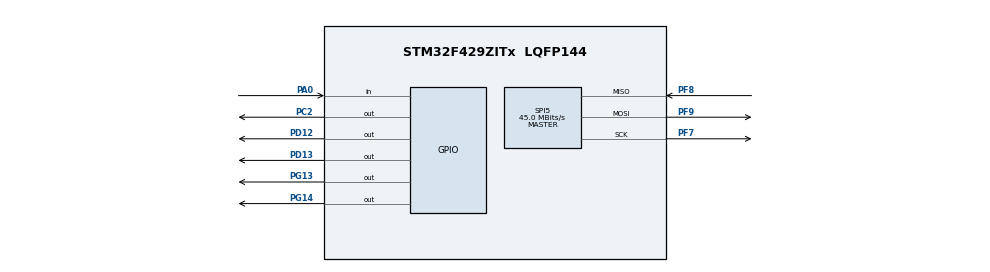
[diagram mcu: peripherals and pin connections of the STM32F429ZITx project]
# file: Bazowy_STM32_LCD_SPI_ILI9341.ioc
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Dma.Request0=SPI5_TX
Dma.SPI5_TX.0.Direction=DMA_MEMORY_TO_PERIPH
Dma.SPI5_TX.0.FIFOMode=DMA_FIFOMODE_DISABLE
Dma.SPI5_TX.0.Instance=DMA2_Stream4
Dma.SPI5_TX.0.MemDataAlignment=DMA_MDATAALIGN_BYTE
Dma.SPI5_TX.0.MemInc=DMA_MINC_ENABLE
Dma.SPI5_TX.0.Mode=DMA_CIRCULAR
Dma.SPI5_TX.0.PeriphDataAlignment=DMA_PDATAALIGN_BYTE
Dma.SPI5_TX.0.PeriphInc=DMA_PINC_DISABLE
Dma.SPI5_TX.0.Priority=DMA_PRIORITY_LOW
FREERTOS.BinarySemaphores01=BinarySem01,Dynamic,NULL
FREERTOS.Tasks01=LCD_Task,8,128,StartLCDTask,Default,NULL,Dynamic,NULL,NULL;LED1_task,24,128,StartTaskLED1,Default,NULL,Dynamic,NULL,NULL;LED2_tack,24,128,StartTaskLED2,Default,NULL,Dynamic,NULL,NULL
FREERTOS.configUSE_NEWLIB_REENTRANT=1
Mcu.Family=STM32F4
Mcu.Name=STM32F429ZITx
Mcu.Package=LQFP144
NVIC.DMA2_Stream4_IRQn=true\:5\:0\:false\:false\:true\:true\:false\:true
NVIC.PriorityGroup=NVIC_PRIORITYGROUP_4
PA0/WKUP.Signal=GPIO_Input
PA13.Mode=Serial_Wire
PA13.Signal=SYS_JTMS-SWDIO
PA14.Mode=Serial_Wire
PA14.Signal=SYS_JTCK-SWCLK
PC2.GPIO_Speed=GPIO_SPEED_FREQ_VERY_HIGH
PC2.Signal=GPIO_Output
PD12.GPIO_Speed=GPIO_SPEED_FREQ_VERY_HIGH
PD12.Signal=GPIO_Output
PD13.GPIO_Speed=GPIO_SPEED_FREQ_VERY_HIGH
PD13.Signal=GPIO_Output
PF7.Mode=Full_Duplex_Master
PF7.Signal=SPI5_SCK
PF8.Mode=Full_Duplex_Master
PF8.Signal=SPI5_MISO
PF9.Mode=Full_Duplex_Master
PF9.Signal=SPI5_MOSI
PG13.Signal=GPIO_Output
PG14.Signal=GPIO_Output
PH0/OSC_IN.Mode=HSE-External-Oscillator
PH0/OSC_IN.Signal=RCC_OSC_IN
PH1/OSC_OUT.Mode=HSE-External-Oscillator
PH1/OSC_OUT.Signal=RCC_OSC_OUT
ProjectManager.HeapSize=0x200
ProjectManager.StackSize=0x400
ProjectManager.TargetToolchain=STM32CubeIDE
RCC.48MHZClocksFreq_Value=45000000
RCC.AHBFreq_Value=180000000
RCC.APB1CLKDivider=RCC_HCLK_DIV4
RCC.APB1Freq_Value=45000000
RCC.APB1TimFreq_Value=90000000
RCC.APB2CLKDivider=RCC_HCLK_DIV2
RCC.APB2Freq_Value=90000000
RCC.APB2TimFreq_Value=180000000
RCC.CortexFreq_Value=180000000
RCC.HCLKFreq_Value=180000000
RCC.HSE_VALUE=8000000
RCC.HSI_VALUE=16000000
RCC.LSE_VALUE=32768
RCC.PLLM=4
RCC.PLLN=180
RCC.PLLQ=8
RCC.PLLSourceVirtual=RCC_PLLSOURCE_HSE
RCC.SYSCLKFreq_VALUE=180000000
RCC.SYSCLKSource=RCC_SYSCLKSOURCE_PLLCLK
RCC.VCOOutputFreq_Value=360000000
SPI5.BaudRatePrescaler=SPI_BAUDRATEPRESCALER_2
SPI5.CalculateBaudRate=45.0 MBits/s
SPI5.Direction=SPI_DIRECTION_2LINES
SPI5.Mode=SPI_MODE_MASTER
SPI5.VirtualType=VM_MASTER
VP_FREERTOS_VS_CMSIS_V2.Mode=CMSIS_V2
VP_RNG_VS_RNG.Mode=RNG_Activate
board=custom

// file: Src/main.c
/* USER CODE BEGIN Header */
/**
  ******************************************************************************
  * @file           : main.c
  * @brief          : Main program body
  ******************************************************************************
  * @attention
  *
  * <h2><center>&copy; Copyright (c) 2020 STMicroelectronics.
  * All rights reserved.</center></h2>
  *
  * This software component is licensed by ST under BSD 3-Clause license,
  * the "License"; You may not use this file except in compliance with the
  * License. You may obtain a copy of the License at:
  *                        opensource.org/licenses/BSD-3-Clause
  *
  ******************************************************************************
  */
/* USER CODE END Header */
#include "main.h"
#include "cmsis_os.h"
#include <stdbool.h>
#include <math.h>
#include <stdlib.h>

/* USER CODE BEGIN Includes */
#include "ll_spi_ili9341.h"
/* USER CODE END Includes */

/* Definitions for LCD_Task */
osThreadId_t LCD_TaskHandle;
const osThreadAttr_t LCD_Task_attributes = {
  .name = "LCD_Task",
  .stack_size = 128 * 4,
  .priority = (osPriority_t) osPriorityLow,
};
/* Definitions for LED1_task */
osThreadId_t LED1_taskHandle;
const osThreadAttr_t LED1_task_attributes = {
  .name = "LED1_task",
  .stack_size = 128 * 4,
  .priority = (osPriority_t) osPriorityNormal,
};
/* Definitions for LED2_tack */
osThreadId_t LED2_tackHandle;
const osThreadAttr_t LED2_tack_attributes = {
  .name = "LED2_tack",
  .stack_size = 128 * 4,
  .priority = (osPriority_t) osPriorityNormal,
};
/* Definitions for BinarySem01 */
osSemaphoreId_t BinarySem01Handle;
const osSemaphoreAttr_t BinarySem01_attributes = {
  .name = "BinarySem01"
};
/* USER CODE BEGIN PV */
uint8_t DmaSpiCnt=1;
/*
int x = 120, y = 160; // Skladowe x,y polozenia kwadratu
int x_old = 120, y_old = 160;
int dx = 1, dy = 1; // Skladowe wektora predkosci dx, dy
*/

unsigned char *ptr;
unsigned char napis[] = {"Press the blue button..."};
int dl_n = 24;
unsigned int nx = 0;
unsigned int ny = 280;
unsigned int  key;

//
unsigned int wysEkranu = 240;
unsigned int szeEkranu = 320;
unsigned int offsetPodloza = 24;
double mX = 240;
double mY = 0.002;

int miejsceLadowania = 0;

//unsigned int czestOdswAnimacji = 500;//czestotliwosc odswierzania animacji lotu
//unsigned int czasAnimacji = (int)(1000 / czestOdswAnimacji);//wyliczenie czasu animacji
unsigned int czasAnimacji = 2;
unsigned int preScaleZapisany = 10000;//moment preskalera licznika uzytkownika w ktorym zakonczyla sie analiza
bool koniecAnalizy = false; //ustawiana i restartowana w celu wyznaczenia momentu analizy
bool koniecRysowania = false; //ustawiana i restartowana w celu wyznaczenia momentu rysowania

unsigned int prepreScale = 0;
int Tim = 0;                // Licznik uzytkownika
unsigned int preScale = 0;  // Preskaler licznika uzytkownika

enum Tryb{
    RYSOWANIE,
    WYKRESY
};

enum Tryb trybPracy = RYSOWANIE;

int daneZadana[105];
int daneWynik[105];
int daneUchyb[105];
//

/* USER CODE END PV */

void SystemClock_Config(void);
static void MX_GPIO_Init(void);
static void MX_DMA_Init(void);
static void MX_RNG_Init(void);
static void MX_SPI5_Init(void);
void StartLCDTask(void *argument);
void StartTaskLED1(void *argument);
void StartTaskLED2(void *argument);

/* USER CODE BEGIN PFP */
//void move_square_C(void);

void setKat(double kat);
double getKat();
void setCelReg(double cel);
double getCelReg();
void setPredkosc(unsigned int predkosc);
unsigned int getPredkosc();

/* USER CODE END PFP */

/* USER CODE BEGIN 0 */
/*
void move_square_C(){
//Aktualizacja po│ozenia na podstawie wektora predkosci
		x+=dx;
		y+=dy;
//Ograniczenie obszaru poruszania kwadratem w obrebie LCD
		if (x <= 1 || x >= 240 - 34)
			dx = -dx;
		if (y <= 1 || y >= 320 - 34)
			dy = -dy;
}
*/

//obiekt regulacji
struct ObiektRegulacji {
    double katArmaty;
    double cel;
    unsigned int predkosc;
};

struct ObiektRegulacji objReg;

    void setKat(double kat) {
        if (kat < 0 || kat>90) {}
        else objReg.katArmaty = kat;
    }

    double getKat() {
        return objReg.katArmaty;
    }

    void setCelReg(double cel) {
        if (cel <= 0 || cel >= 240) {}
        else objReg.cel = cel;
    }

    double getCelReg() {
        return objReg.cel;
    }

    void setPredkosc(unsigned int predkosc) {
        if (predkosc <= 0) {}
        else objReg.predkosc = predkosc;
    }

    unsigned int getPredkosc() {
        return objReg.predkosc;
    }
//

//
    double stopnieNaRad(double stopnie)
    {
        return (stopnie * M_PI) / 180;
    }

    double radNaStopnie(double rad)
    {
        return (rad * 180) / M_PI;
    }

    double pozNaRad(double x, int offset, double v) //ta funkcja nie ma sensu
    {
        double stopnie = asin(((128 - 2 * offset) / mY + (9.8 * x * x) / 2) / (v * x * mX));
        return stopnie;
    }

    void AnalizaIRegulacja()
    {
        /*
        unsigned char Text[] = "AnalizaIRegulacja___";

            for (int j = 0; j < rozmiar; j++)
            {
                Komentarze[j] = Text[j];
            }

        PrintText(textEkran, Komentarze, 20, 0, 0);
*/

        double stopnie = getKat();
/*
        unsigned char Text1[] = "Stopnie_przedReg____";

            for (int j = 0; j < rozmiar; j++)
            {
                Komentarze[j] = Text1[j];
            }

            Komentarze[17] = ((int)stopnie / 100 - 10 * ((int)stopnie / 1000) + '0');
            Komentarze[18] = (int)stopnie / 10 - 10 * ((int)stopnie / 100) + '0';
            Komentarze[19] = (int)stopnie % 10 + '0';

        PrintText(textEkran, Komentarze, 20, 0, 1);
*/

        double uchyb = getCelReg() - miejsceLadowania;

        //DodajDaneUchyb(uchyb);
/*
        unsigned char Text3[] = "Uchyb_______________";

            for (int j = 0; j < rozmiar; j++)
            {
                Komentarze[j] = Text3[j];
            }

            if(uchyb<0) Komentarze[16] = '-';
            Komentarze[17] = (abs(uchyb) / 100 - 10 * (abs(uchyb) / 1000) + '0');
            Komentarze[18] = abs(uchyb) / 10 - 10 * (abs(uchyb) / 100) + '0';
            Komentarze[19] = abs(uchyb) % 10 + '0';

        PrintText(textEkran, Komentarze, 20, 20, 5);
*/
    /*
        regPID.setInput(uchyb);

        regPID.Calculate();

        double zadana = regPID.getOutput();
    */
        //cout<<"\nZadane miejsce ladowania: "<<zadana;

    //    stopnie = (int)radNaStopnie(pozNaRad(zadana, offsetPodloza, objReg.getPredkosc()));
    /*    if(uchyb<0) stopnie-=10; //proporcje 0-90 na 0-szerokosc ekranu
        else if(uchyb>0) stopnie+=10;
        else stopnie=stopnie;
    */

        //regulacja kata wystrzalu armaty
        stopnie+=uchyb/10;

        //cout<<" Stopnie; "<<stopnie;

        setKat(stopnie);

/*
        unsigned char Text2[] = "Stopnie_poReg_______";

            for (int j = 0; j < rozmiar; j++)
            {
                Komentarze[j] = Text2[j];
            }

            Komentarze[17] = ((int)stopnie / 100 - 10 * ((int)stopnie / 1000) + '0');
            Komentarze[18] = (int)stopnie / 10 - 10 * ((int)stopnie / 100) + '0';
            Komentarze[19] = (int)stopnie % 10 + '0';

        PrintText(textEkran, Komentarze, 20, 0, 2);
*/
        koniecAnalizy = true;
    }

    unsigned int t = 0;
    unsigned int x = 0;
    unsigned int y = 0;

        int ileRysowanie=0;

        void RysowanieTrajektorii()
        {
/*
            unsigned char Text[] = "RysowanieTrajektorii";

                for (int j = 0; j < rozmiar; j++)
                {
                    Komentarze[j] = Text[j];
                }

            PrintText(textEkran, Komentarze, 20, 0, 0);
*/

            //rysowanie tla

            int dlugoscA = 10;
            int szerokoscA = 10;

            //z kata obliczyc punkt (x,y) konca armaty

            int xA = dlugoscA * cos(stopnieNaRad(getKat()));
            //cout<<xA;
            int yA = dlugoscA * sin(stopnieNaRad(getKat()));
            //cout<<yA;
            //narysowac linie laczaca punkt poczatkowy z (x,y) i linie wyzej, nizej
            for (int dlugosc = 0; dlugosc < dlugoscA; dlugosc++)
            {
                for (int szerokosc = -szerokoscA / 2; szerokosc < szerokoscA / 2; szerokosc++)
                {
                    if(trybPracy == 0)
                        //SetPixel(ekran, (5 + (xA * dlugosc / dlugoscA) + szerokosc), (wysEkranu - (5 + offsetPodloza + (yA * dlugosc / dlugoscA) + szerokosc)));
                        TFTDisplay_ILI9341_DrawPixel((wysEkranu - (5 + offsetPodloza + (yA * dlugosc / dlugoscA) + szerokosc)), (5 + (xA * dlugosc / dlugoscA) + szerokosc), TFT_COLOR_ILI9341_BLACK);
                }
            }

            //wyliczanie pozycji kuli dla danej chwili
            t = (int)(preScale - preScaleZapisany)/5; // /25 = korekta zeby trajektoria rysowala sie wolniej

            x = (unsigned int)(0.38 * getPredkosc() * t * cos(stopnieNaRad(getKat())));

            y = (unsigned int)(mY * (getPredkosc() * t * mX * sin(stopnieNaRad(getKat())) - (9.8 * t * t / 2)) + offsetPodloza);

            if (abs((int)(offsetPodloza - y)) < 3)
            {
                miejsceLadowania = x;
/*
                unsigned char Text[] = "Nowe ladowanie = ___";

                    for (int j = 0; j < rozmiar; j++)
                    {
                        Komentarze[j] = Text[j];
                    }

                    Komentarze[17] = (miejsceLadowania / 100 - 10 * (miejsceLadowania / 1000) + '0');
                    Komentarze[18] = miejsceLadowania / 10 - 10 * (miejsceLadowania / 100) + '0';
                    Komentarze[19] = miejsceLadowania % 10 + '0';

                PrintText(textEkran, Komentarze, 20, 0, 4);
*/
            }

            if (y >= offsetPodloza && y < wysEkranu && x >= 0 && x < szeEkranu) //XD
            {
                if(trybPracy == 0)
                    //SetPixel(ekran, x, (wysEkranu - y));
                //    TFTDisplay_ILI9341_DrawPixel((wysEkranu - y), x, TFT_COLOR_ILI9341_RED);
                    TFTDisplay_ILI9341_DrawCircle((wysEkranu - y), x, 5, TFT_COLOR_ILI9341_RED);
            }
            else if (y >= wysEkranu || x >= szeEkranu)
            {
            }
            else
            {
                koniecRysowania = true;
                preScaleZapisany = preScale;
/*
                unsigned char Text[] = "Koniec rysowania____";

                    for (int j = 0; j < rozmiar; j++)
                    {
                        Komentarze[j] = Text[j];
                    }

                PrintText(textEkran, Komentarze, 20, 0, 0);
*/
                //DodajDaneWynik(miejsceLadowania);
            }
        }

        void Wykresy()
        {
            TFTDisplay_ILI9341_FillScreen(TFT_COLOR_ILI9341_WHITE);

            //240x128
            for(unsigned int x=1; x<szeEkranu; x++)
            {
                for(unsigned int y=1; y<wysEkranu; y++)
                {
                    //wykres lewo (wartosc zadana i uzyskana)
                    if(x==5 && y>=wysEkranu-75 && y<wysEkranu-5)
                        //SetPixel(ekran, x, y);
                        TFTDisplay_ILI9341_DrawPixel(y, x, TFT_COLOR_ILI9341_BLUE);
                    if(y==wysEkranu-5 && x>5 && x<110)
                        //SetPixel(ekran, x, y);
                        TFTDisplay_ILI9341_DrawPixel(y, x, TFT_COLOR_ILI9341_BLUE);

                    //wykres prawo (uchyb)
                    if(x==5+120 && y>=wysEkranu-75 && y<wysEkranu-5)
                        //SetPixel(ekran, x, y);
                        TFTDisplay_ILI9341_DrawPixel(y, x, TFT_COLOR_ILI9341_BLUE);
                    if(y==wysEkranu-40 && x>5+120 && x<110+120)
                        //SetPixel(ekran, x, y);
                        TFTDisplay_ILI9341_DrawPixel(y, x, TFT_COLOR_ILI9341_BLUE);
                }
            }
            for(int i=0; i<105; i++)
            {
                //wykresZadana
                //SetPixel(ekran, (i+5), (int)(wysEkranu-(daneZadana[i]/240.0*70+5)));
                TFTDisplay_ILI9341_DrawPixel((int)(wysEkranu-(daneZadana[i]/240.0*70+5)), (i+5), TFT_COLOR_ILI9341_BLUE);

                //wykresWynik
                //SetPixel(ekran, (i+5), (int)(wysEkranu-(daneWynik[i]/240.0*70+5)));
                TFTDisplay_ILI9341_DrawPixel((int)(wysEkranu-(daneWynik[i]/240.0*70+5)), (i+5), TFT_COLOR_ILI9341_BLUE);

                //wykresUchyb
                //SetPixel(ekran, (i+5+120), (int)(wysEkranu-(daneUchyb[i]/240.0*70+40)));
                TFTDisplay_ILI9341_DrawPixel((int)(wysEkranu-(daneUchyb[i]/240.0*70+40)), (i+5+120), TFT_COLOR_ILI9341_BLUE);
            }
        }

    void DodajDaneZadana(int liczba)
    {
        for(int i=0; i<104; i++)
        {
            daneZadana[i]=daneZadana[i+1];
        }
        daneZadana[104]=liczba;
    }

    void DodajDaneWynik(int liczba)
    {
        for(int i=0; i<104; i++)
            {
                daneWynik[i]=daneWynik[i+1];
            }
        daneWynik[104]=liczba;
    }

    void DodajDaneUchyb(int liczba)
    {
        for(int i=0; i<104; i++)
            {
                daneUchyb[i]=daneUchyb[i+1];
            }
        daneUchyb[104]=liczba;
    }
//

/* USER CODE END 0 */

int main(void)
{
  /* USER CODE BEGIN 1 */
	//ptr = napis;

    for(int i=0; i<105;i++)
    {
        daneZadana[i]=0;
        daneWynik[i]=0;
        daneUchyb[i]=0;
    }

  /* USER CODE END 1 */

  /* MCU Configuration--------------------------------------------------------*/

  /* Reset of all peripherals, Initializes the Flash interface and the Systick. */

  LL_APB2_GRP1_EnableClock(LL_APB2_GRP1_PERIPH_SYSCFG);
  LL_APB1_GRP1_EnableClock(LL_APB1_GRP1_PERIPH_PWR);

  NVIC_SetPriorityGrouping(NVIC_PRIORITYGROUP_4);

  /* System interrupt init*/
  /* PendSV_IRQn interrupt configuration */
  NVIC_SetPriority(PendSV_IRQn, NVIC_EncodePriority(NVIC_GetPriorityGrouping(),15, 0));
  /* SysTick_IRQn interrupt configuration */
  NVIC_SetPriority(SysTick_IRQn, NVIC_EncodePriority(NVIC_GetPriorityGrouping(),15, 0));

  /* USER CODE BEGIN Init */
    objReg.katArmaty = 30;
    objReg.cel = 100;
    objReg.predkosc = 5;
  /* USER CODE END Init */

  /* Configure the system clock */
  SystemClock_Config();

  /* Initialize all configured peripherals */
  MX_GPIO_Init();
  MX_DMA_Init();
  MX_RNG_Init();
  MX_SPI5_Init();
  /* USER CODE BEGIN 2 */
  LL_DMA_DisableStream(DMA2, LL_DMA_STREAM_4);
  LL_DMA_ClearFlag_TC4(DMA2);
  LL_DMA_ClearFlag_TE4(DMA2);
  LL_SPI_EnableDMAReq_TX(SPI5);
  LL_DMA_EnableIT_TC(DMA2, LL_DMA_STREAM_4);
  LL_DMA_EnableIT_TE(DMA2, LL_DMA_STREAM_4);
  LL_SPI_Enable(SPI5);

  /* USER CODE END 2 */

  /* Init scheduler */
  osKernelInitialize();

  /* Create the semaphores(s) */
  /* creation of BinarySem01 */
  BinarySem01Handle = osSemaphoreNew(1, 1, &BinarySem01_attributes);

  /* Create the thread(s) */
  /* creation of LCD_Task */
  LCD_TaskHandle = osThreadNew(StartLCDTask, NULL, &LCD_Task_attributes);

  /* creation of LED1_task */
  //LED1_taskHandle = osThreadNew(StartTaskLED1, NULL, &LED1_task_attributes);

  /* creation of LED2_tack */
  //LED2_tackHandle = osThreadNew(StartTaskLED2, NULL, &LED2_tack_attributes);

  /* Start scheduler */
  osKernelStart();

  /* We should never get here as control is now taken by the scheduler */
  /* Infinite loop */
  while (1)
  {

  }
}

void SystemClock_Config(void)
{
  LL_FLASH_SetLatency(LL_FLASH_LATENCY_5);
  while(LL_FLASH_GetLatency()!= LL_FLASH_LATENCY_5)
  {
  }
  LL_PWR_SetRegulVoltageScaling(LL_PWR_REGU_VOLTAGE_SCALE1);
  LL_PWR_EnableOverDriveMode();
  LL_RCC_HSE_Enable();

   /* Wait till HSE is ready */
  while(LL_RCC_HSE_IsReady() != 1)
  {

  }
  LL_RCC_PLL_ConfigDomain_SYS(LL_RCC_PLLSOURCE_HSE, LL_RCC_PLLM_DIV_4, 180, LL_RCC_PLLP_DIV_2);
  LL_RCC_PLL_ConfigDomain_48M(LL_RCC_PLLSOURCE_HSE, LL_RCC_PLLM_DIV_4, 180, LL_RCC_PLLQ_DIV_8);
  LL_RCC_PLL_Enable();

   /* Wait till PLL is ready */
  while(LL_RCC_PLL_IsReady() != 1)
  {

  }
  LL_RCC_SetAHBPrescaler(LL_RCC_SYSCLK_DIV_1);
  LL_RCC_SetAPB1Prescaler(LL_RCC_APB1_DIV_4);
  LL_RCC_SetAPB2Prescaler(LL_RCC_APB2_DIV_2);
  LL_RCC_SetSysClkSource(LL_RCC_SYS_CLKSOURCE_PLL);

   /* Wait till System clock is ready */
  while(LL_RCC_GetSysClkSource() != LL_RCC_SYS_CLKSOURCE_STATUS_PLL)
  {

  }
  LL_Init1msTick(180000000);
  LL_SetSystemCoreClock(180000000);
  LL_RCC_SetTIMPrescaler(LL_RCC_TIM_PRESCALER_TWICE);
}

static void MX_RNG_Init(void)
{

  /* Peripheral clock enable */
  LL_AHB2_GRP1_EnableClock(LL_AHB2_GRP1_PERIPH_RNG);

  LL_RNG_Enable(RNG);

}

static void MX_SPI5_Init(void)
{

  LL_SPI_InitTypeDef SPI_InitStruct = {0};

  LL_GPIO_InitTypeDef GPIO_InitStruct = {0};

  /* Peripheral clock enable */
  LL_APB2_GRP1_EnableClock(LL_APB2_GRP1_PERIPH_SPI5);

  LL_AHB1_GRP1_EnableClock(LL_AHB1_GRP1_PERIPH_GPIOF);
  /**SPI5 GPIO Configuration
  PF7   ------> SPI5_SCK
  PF8   ------> SPI5_MISO
  PF9   ------> SPI5_MOSI
  */
  GPIO_InitStruct.Pin = LL_GPIO_PIN_7|LL_GPIO_PIN_8|LL_GPIO_PIN_9;
  GPIO_InitStruct.Mode = LL_GPIO_MODE_ALTERNATE;
  GPIO_InitStruct.Speed = LL_GPIO_SPEED_FREQ_VERY_HIGH;
  GPIO_InitStruct.OutputType = LL_GPIO_OUTPUT_PUSHPULL;
  GPIO_InitStruct.Pull = LL_GPIO_PULL_NO;
  GPIO_InitStruct.Alternate = LL_GPIO_AF_5;
  LL_GPIO_Init(GPIOF, &GPIO_InitStruct);

  /* SPI5 DMA Init */

  /* SPI5_TX Init */
  LL_DMA_SetChannelSelection(DMA2, LL_DMA_STREAM_4, LL_DMA_CHANNEL_2);

  LL_DMA_SetDataTransferDirection(DMA2, LL_DMA_STREAM_4, LL_DMA_DIRECTION_MEMORY_TO_PERIPH);

  LL_DMA_SetStreamPriorityLevel(DMA2, LL_DMA_STREAM_4, LL_DMA_PRIORITY_LOW);

  LL_DMA_SetMode(DMA2, LL_DMA_STREAM_4, LL_DMA_MODE_CIRCULAR);

  LL_DMA_SetPeriphIncMode(DMA2, LL_DMA_STREAM_4, LL_DMA_PERIPH_NOINCREMENT);

  LL_DMA_SetMemoryIncMode(DMA2, LL_DMA_STREAM_4, LL_DMA_MEMORY_INCREMENT);

  LL_DMA_SetPeriphSize(DMA2, LL_DMA_STREAM_4, LL_DMA_PDATAALIGN_BYTE);

  LL_DMA_SetMemorySize(DMA2, LL_DMA_STREAM_4, LL_DMA_MDATAALIGN_BYTE);

  LL_DMA_DisableFifoMode(DMA2, LL_DMA_STREAM_4);

  /* SPI5 parameter configuration*/
  SPI_InitStruct.TransferDirection = LL_SPI_FULL_DUPLEX;
  SPI_InitStruct.Mode = LL_SPI_MODE_MASTER;
  SPI_InitStruct.DataWidth = LL_SPI_DATAWIDTH_8BIT;
  SPI_InitStruct.ClockPolarity = LL_SPI_POLARITY_LOW;
  SPI_InitStruct.ClockPhase = LL_SPI_PHASE_1EDGE;
  SPI_InitStruct.NSS = LL_SPI_NSS_SOFT;
  SPI_InitStruct.BaudRate = LL_SPI_BAUDRATEPRESCALER_DIV2;
  SPI_InitStruct.BitOrder = LL_SPI_MSB_FIRST;
  SPI_InitStruct.CRCCalculation = LL_SPI_CRCCALCULATION_DISABLE;
  SPI_InitStruct.CRCPoly = 10;
  LL_SPI_Init(SPI5, &SPI_InitStruct);
  LL_SPI_SetStandard(SPI5, LL_SPI_PROTOCOL_MOTOROLA);

}

static void MX_DMA_Init(void)
{

  /* Init with LL driver */
  /* DMA controller clock enable */
  LL_AHB1_GRP1_EnableClock(LL_AHB1_GRP1_PERIPH_DMA2);

  /* DMA interrupt init */
  /* DMA2_Stream4_IRQn interrupt configuration */
  NVIC_SetPriority(DMA2_Stream4_IRQn, NVIC_EncodePriority(NVIC_GetPriorityGrouping(),5, 0));
  NVIC_EnableIRQ(DMA2_Stream4_IRQn);

}

static void MX_GPIO_Init(void)
{
  LL_GPIO_InitTypeDef GPIO_InitStruct = {0};

  /* GPIO Ports Clock Enable */
  LL_AHB1_GRP1_EnableClock(LL_AHB1_GRP1_PERIPH_GPIOF);
  LL_AHB1_GRP1_EnableClock(LL_AHB1_GRP1_PERIPH_GPIOH);
  LL_AHB1_GRP1_EnableClock(LL_AHB1_GRP1_PERIPH_GPIOC);
  LL_AHB1_GRP1_EnableClock(LL_AHB1_GRP1_PERIPH_GPIOA);
  LL_AHB1_GRP1_EnableClock(LL_AHB1_GRP1_PERIPH_GPIOD);
  LL_AHB1_GRP1_EnableClock(LL_AHB1_GRP1_PERIPH_GPIOG);

  /**/
  LL_GPIO_ResetOutputPin(GPIOC, LL_GPIO_PIN_2);

  /**/
  LL_GPIO_ResetOutputPin(GPIOD, LL_GPIO_PIN_12|LL_GPIO_PIN_13);

  /**/
  LL_GPIO_ResetOutputPin(GPIOG, LL_GPIO_PIN_13|LL_GPIO_PIN_14);

  /**/
  GPIO_InitStruct.Pin = LL_GPIO_PIN_2;
  GPIO_InitStruct.Mode = LL_GPIO_MODE_OUTPUT;
  GPIO_InitStruct.Speed = LL_GPIO_SPEED_FREQ_VERY_HIGH;
  GPIO_InitStruct.OutputType = LL_GPIO_OUTPUT_PUSHPULL;
  GPIO_InitStruct.Pull = LL_GPIO_PULL_NO;
  LL_GPIO_Init(GPIOC, &GPIO_InitStruct);

  /**/
  GPIO_InitStruct.Pin = LL_GPIO_PIN_0;
  GPIO_InitStruct.Mode = LL_GPIO_MODE_INPUT;
  GPIO_InitStruct.Pull = LL_GPIO_PULL_NO;
  LL_GPIO_Init(GPIOA, &GPIO_InitStruct);

  /**/
  GPIO_InitStruct.Pin = LL_GPIO_PIN_12|LL_GPIO_PIN_13;
  GPIO_InitStruct.Mode = LL_GPIO_MODE_OUTPUT;
  GPIO_InitStruct.Speed = LL_GPIO_SPEED_FREQ_VERY_HIGH;
  GPIO_InitStruct.OutputType = LL_GPIO_OUTPUT_PUSHPULL;
  GPIO_InitStruct.Pull = LL_GPIO_PULL_NO;
  LL_GPIO_Init(GPIOD, &GPIO_InitStruct);

  /**/
  GPIO_InitStruct.Pin = LL_GPIO_PIN_13|LL_GPIO_PIN_14;
  GPIO_InitStruct.Mode = LL_GPIO_MODE_OUTPUT;
  GPIO_InitStruct.Speed = LL_GPIO_SPEED_FREQ_LOW;
  GPIO_InitStruct.OutputType = LL_GPIO_OUTPUT_PUSHPULL;
  GPIO_InitStruct.Pull = LL_GPIO_PULL_NO;
  LL_GPIO_Init(GPIOG, &GPIO_InitStruct);

}

/* USER CODE BEGIN 4 */
void DMA1_Stream4_TransferComplete(void)
{
  LL_DMA_ClearFlag_TC4(DMA2);
  DmaSpiCnt--;

  if(DmaSpiCnt == 0)
  {
    LL_DMA_DisableStream(DMA2, LL_DMA_STREAM_4);
    DmaSpiCnt=1;
    CS_DESELECT();
  }
}
/* USER CODE END 4 */

void StartLCDTask(void *argument)
{
  /* USER CODE BEGIN 5 */

	  TFTDisplay_ILI9341_Initialization(240, 320); //nie usuwac INITIALITATION
	  TFTDisplay_ILI9341_SetRotation(0);

	  //TFTDisplay_ILI9341_FillRect(5,5,35,35,TFT_COLOR_ILI9341_WHITE );
	  /*
	  TFTDisplay_ILI9341_FillScreen(TFT_COLOR_ILI9341_GREEN);
	  osDelay(1000);
	  TFTDisplay_ILI9341_FillScreen(TFT_COLOR_ILI9341_RED);
	  osDelay(1000);
	  TFTDisplay_ILI9341_FillScreen(TFT_COLOR_ILI9341_BLUE);
	  osDelay(1000);
	  TFTDisplay_ILI9341_FillRect(5,5,35,35,TFT_COLOR_ILI9341_WHITE );
	  TFTDisplay_ILI9341_DrawClearRect(40,40, 80, 80, TFT_COLOR_ILI9341_RED);
	  TFTDisplay_ILI9341_DrawCircle(140, 140, 50, TFT_COLOR_ILI9341_GREEN);

	  for (int i=0; i < dl_n; i++){
		  TFTDisplay_ILI9341_DrawChar (nx, ny, *ptr);
		  nx= nx +10;
		  ptr++;

	  }

	  TFTDisplay_ILI9341_DrawLine(0, 0, 240, 240, TFT_COLOR_ILI9341_RED);
	  TFTDisplay_ILI9341_DrawPixel(140, 140, TFT_COLOR_ILI9341_WHITE);

*/

  /* Infinite loop */
  for(;;)
  {
      prepreScale++;

              if (prepreScale == 1)
              {
                  preScale++;
                  prepreScale = 0;

                  if (preScale % 1000 == 0) //wywolana co 1[sek] = 1000[ms]
                  {

                      unsigned char napisCzas[] = {"Czas[s] = _____"};

                      napisCzas[11] = (Tim / 1000 + '0');
                      napisCzas[12] = (Tim / 100 - 10 * (Tim / 1000) + '0');
                      napisCzas[13] = Tim / 10 - 10 * (Tim / 100) + '0';
                      napisCzas[14] = Tim % 10 + '0';

                    //  PrintText(textEkran, Text, 15, 25, 0);

                      ptr=napisCzas;
                   //   TFTDisplay_ILI9341_DrawChar (10, 10, *ptr);
                      Tim++;

                      if(trybPracy == 1)
                          Wykresy();
                  }

                  /*
                  1. (wywolana raz na poczatku) wywołuj funkcję analiza i regulacja
                      jesli preScale==1 -> koniecRysowania=FALSE + wywołaj regulację + zapisz czas konca regulacji (preScaleZapisany)
                  2. co 20[ms] wywołuj funcję rysuj
                      jesli (preScale-preScaleZapisany)%20==0 && !koniecRysowania -> wywolaj rysowanie
                      jesli koniec rysowania zmien zmienna -> koniecRysowania=TRUE
                  3. (wywolana raz na koniec) delay na 1000[ms] - przerwa miedzy lotami
                  4. (wywolana raz na koniec) reset zmiennej preScale
                  */

                  if (preScale == 1)
                  {
                      koniecAnalizy = false;
                      koniecRysowania = false;
                      preScaleZapisany = preScale;
                    //  TFTDisplay_ILI9341_FillRect(0, 0, 120, 60, TFT_COLOR_ILI9341_YELLOW);
                      if(GPIOA -> IDR & 0x0001) {

                          setCelReg(getCelReg()+10);
                          if(getCelReg()>=229) setCelReg(15);
                        }

                      TFTDisplay_ILI9341_FillRect(0, 0, 216, 319, TFT_COLOR_ILI9341_BLUE);
                      TFTDisplay_ILI9341_FillRect(216, 0, 239, 319, TFT_COLOR_ILI9341_GREEN);
                   //   TFTDisplay_ILI9341_FillRect(1, 1, szeEkranu-1, offsetPodloza, TFT_COLOR_ILI9341_GREEN);
                      osDelay(4);
                      for (unsigned int w = 0; w < wysEkranu; w++)
                                {
                                    for (unsigned int s = 0; s < szeEkranu; s++)
                                    {
                                        //podloze
                                      //  if (w <= offsetPodloza)
                                          //  if(trybPracy == 0)
                                                //SetPixel(ekran, s, (wysEkranu - w - 1));
                                          //      TFTDisplay_ILI9341_DrawPixel((wysEkranu - w - 1), s, TFT_COLOR_ILI9341_GREEN);
                                          //      TFTDisplay_ILI9341_FillRect(0, 0, szeEkranu, offsetPodloza, TFT_COLOR_ILI9341_RED);

                                        //punkt docelowy
                                        if (abs((int)(w - offsetPodloza)) <= 5 && abs((int)(s - getCelReg())) <= 4)
                                            if(trybPracy == 0)
                                                //SetPixel(ekran, s, (wysEkranu - w - 1 -3));
                                                TFTDisplay_ILI9341_DrawPixel((wysEkranu - w - 1 -3), s, TFT_COLOR_ILI9341_BLACK);
                                        //armata
                                        /*
                                        if(s>=5 && s<=(5+dlugoscA) && w >=(5+offsetPodloza) && w<=(5+offsetPodloza+szerokoscA))
                                        {
                                            int xA=s*cos(stopnieNaRad(objReg.getKat()));
                                            cout<<xA;
                                            int yA=w*sin(stopnieNaRad(objReg.getKat()));
                                            cout<<yA;
                                            SetPixel(ekran, xA, (wysEkranu-yA));
                                            //SetPixel(ekran, s, (wysEkranu-w));
                                        }
                                        */
                                    }
                                }

                  }

                  if (!koniecRysowania && (preScale - preScaleZapisany) % czasAnimacji == 0)
                  {
                      RysowanieTrajektorii();
                  }

                  if (koniecRysowania && preScale == (preScaleZapisany + 2000))
                  {
                      AnalizaIRegulacja();
                      preScale = 0;
                     // if(trybPracy == 0)       TFTDisplay_ILI9341_FillScreen(TFT_COLOR_ILI9341_WHITE);
                      //DodajDaneZadana((int)getCelReg());
                  }
      /*
                  unsigned char Key = KEYBOARD.GetKey();

                  if (Key == 6) objReg.setCelReg(objReg.getCelReg() + 0.1); //przycisk 6
                  if (Key == 8) objReg.setCelReg(objReg.getCelReg() - 0.1); //przycisk *

                  if (Key == 4)  trybPracy=WYKRESY; //przycisk 5
                  if (Key == 2) trybPracy=RYSOWANIE; //przycisk C
      */
      /*
                  unsigned char Text1[] = "Wartosc zadana______";

                      for (int j = 0; j < rozmiar; j++)
                      {
                          Komentarze[j] = Text1[j];
                      }

                      int celR = (int)objReg.getCelReg();

                      Komentarze[17] = (celR / 100 - 10 * (celR / 1000) + '0');
                      Komentarze[18] = celR / 10 - 10 * (celR / 100) + '0';
                      Komentarze[19] = celR % 10 + '0';

                  PrintText(textEkran, Komentarze, 20, 0, 5);
      */
              }

      //osDelay(4);
/*
	  	TFTDisplay_ILI9341_FillRect(x, y, x+30, y+30, TFT_COLOR_ILI9341_RED);
	  	osDelay(4);
	  	move_square_C();
	  	TFTDisplay_ILI9341_FillRect(x_old, y_old, x_old+30, y_old+30, TFT_COLOR_ILI9341_BLUE);
	  	x_old = x;
	  	y_old = y;
*/
  }
  /* USER CODE END 5 */
}

void StartTaskLED1(void *argument)
{
  /* USER CODE BEGIN StartTaskLED1 */
  /* Infinite loop */
  for(;;)
  {

	  osSemaphoreAcquire(BinarySem01Handle, osWaitForever);  //synchronizacja tasków - zwolnienie w TaskLED2

	  LL_GPIO_TogglePin(GPIOG, LL_GPIO_PIN_13);

	  osDelay(100);
  }
  /* USER CODE END StartTaskLED1 */
}

void StartTaskLED2(void *argument)
{
  /* USER CODE BEGIN StartTaskLED2 */
  /* Infinite loop */
  for(;;)
  {

	  LL_GPIO_TogglePin(GPIOG, LL_GPIO_PIN_14);

	  osDelay(1000);
	  osSemaphoreRelease(BinarySem01Handle);	//zwolnienie semafora i odblokowanie TaskLED1

	  ;
  }
  /* USER CODE END StartTaskLED2 */
}

void Error_Handler(void)
{
}
